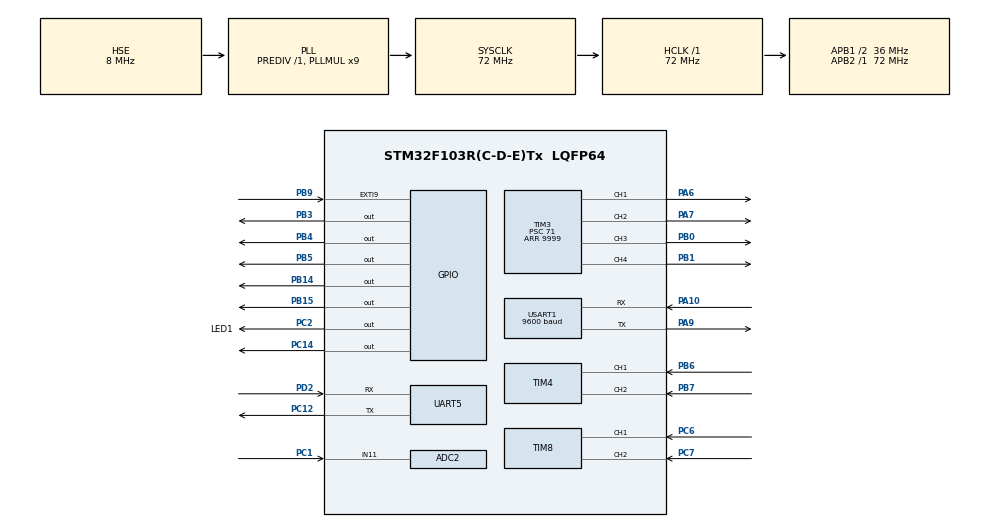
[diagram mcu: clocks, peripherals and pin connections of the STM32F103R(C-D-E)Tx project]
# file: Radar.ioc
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ADC2.Channel-0\#ChannelRegularConversion=ADC_CHANNEL_11
ADC2.NbrOfConversionFlag=1
ADC2.Rank-0\#ChannelRegularConversion=1
ADC2.SamplingTime-0\#ChannelRegularConversion=ADC_SAMPLETIME_13CYCLES_5
Mcu.Family=STM32F1
Mcu.Name=STM32F103R(C-D-E)Tx
Mcu.Package=LQFP64
NVIC.PriorityGroup=NVIC_PRIORITYGROUP_2
NVIC.TIM3_IRQn=true\:0\:0\:false\:false\:true\:true\:true\:true
NVIC.UART5_IRQn=true\:1\:1\:true\:false\:true\:true\:true\:true
NVIC.USART1_IRQn=true\:1\:1\:true\:false\:true\:true\:true\:true
PA10.Mode=Asynchronous
PA10.Signal=USART1_RX
PA13.Mode=Serial_Wire
PA13.Signal=SYS_JTMS-SWDIO
PA14.Mode=Serial_Wire
PA14.Signal=SYS_JTCK-SWCLK
PA6.GPIO_ModeDefaultPP=GPIO_MODE_AF_PP
PA6.Signal=S_TIM3_CH1
PA7.GPIO_ModeDefaultPP=GPIO_MODE_AF_PP
PA7.Signal=S_TIM3_CH2
PA9.Mode=Asynchronous
PA9.Signal=USART1_TX
PB0.GPIO_Speed=GPIO_SPEED_FREQ_LOW
PB0.Signal=S_TIM3_CH3
PB1.GPIO_Speed=GPIO_SPEED_FREQ_LOW
PB1.Signal=S_TIM3_CH4
PB14.Signal=GPIO_Output
PB15.Signal=GPIO_Output
PB3.GPIO_Speed=GPIO_SPEED_FREQ_LOW
PB3.PinState=GPIO_PIN_SET
PB3.Signal=GPIO_Output
PB4.GPIO_Speed=GPIO_SPEED_FREQ_LOW
PB4.PinState=GPIO_PIN_SET
PB4.Signal=GPIO_Output
PB5.GPIO_Speed=GPIO_SPEED_FREQ_LOW
PB5.PinState=GPIO_PIN_SET
PB5.Signal=GPIO_Output
PB6.GPIO_PuPd=GPIO_PULLUP
PB6.Signal=S_TIM4_CH1
PB7.GPIO_PuPd=GPIO_PULLUP
PB7.Signal=S_TIM4_CH2
PB9.GPIO_ModeDefaultEXTI=GPIO_MODE_IT_FALLING
PB9.GPIO_PuPd=GPIO_PULLUP
PB9.Signal=GPXTI9
PC1.Signal=ADCx_IN11
PC12.Mode=Asynchronous
PC12.Signal=UART5_TX
PC14-OSC32_IN.GPIO_ModeDefaultOutputPP=GPIO_MODE_OUTPUT_PP
PC14-OSC32_IN.GPIO_PuPd=GPIO_NOPULL
PC14-OSC32_IN.GPIO_Speed=GPIO_SPEED_FREQ_LOW
PC14-OSC32_IN.Signal=GPIO_Output
PC2.GPIO_Label=LED1
PC2.GPIO_PuPd=GPIO_PULLUP
PC2.Signal=GPIO_Output
PC6.GPIO_PuPd=GPIO_PULLUP
PC6.Signal=S_TIM8_CH1
PC7.GPIO_PuPd=GPIO_PULLUP
PC7.Signal=S_TIM8_CH2
PD0-OSC_IN.Mode=HSE-External-Oscillator
PD0-OSC_IN.Signal=RCC_OSC_IN
PD1-OSC_OUT.Mode=HSE-External-Oscillator
PD1-OSC_OUT.Signal=RCC_OSC_OUT
PD2.Mode=Asynchronous
PD2.Signal=UART5_RX
ProjectManager.HeapSize=0x800
ProjectManager.StackSize=0x800
ProjectManager.TargetToolchain=MDK-ARM V5
RCC.ADCPresc=RCC_ADCPCLK2_DIV6
RCC.AHBFreq_Value=72000000
RCC.APB1CLKDivider=RCC_HCLK_DIV2
RCC.APB1Freq_Value=36000000
RCC.APB1TimFreq_Value=72000000
RCC.APB2Freq_Value=72000000
RCC.APB2TimFreq_Value=72000000
RCC.HCLKFreq_Value=72000000
RCC.PLLMUL=RCC_PLL_MUL9
RCC.PLLSourceVirtual=RCC_PLLSOURCE_HSE
RCC.SYSCLKFreq_VALUE=72000000
RCC.SYSCLKSource=RCC_SYSCLKSOURCE_PLLCLK
RCC.USBFreq_Value=72000000
SH.ADCx_IN11.0=ADC2_IN11,IN11
SH.S_TIM3_CH1.0=TIM3_CH1,PWM Generation1 CH1
SH.S_TIM3_CH2.0=TIM3_CH2,PWM Generation2 CH2
SH.S_TIM3_CH3.0=TIM3_CH3,PWM Generation3 CH3
SH.S_TIM3_CH4.0=TIM3_CH4,PWM Generation4 CH4
SH.S_TIM4_CH1.0=TIM4_CH1,Encoder_Interface
SH.S_TIM4_CH2.0=TIM4_CH2,Encoder_Interface
SH.S_TIM8_CH1.0=TIM8_CH1,Encoder_Interface
SH.S_TIM8_CH2.0=TIM8_CH2,Encoder_Interface
TIM3.AutoReloadPreload=TIM_AUTORELOAD_PRELOAD_ENABLE
TIM3.Channel-PWM\ Generation1\ CH1=TIM_CHANNEL_1
TIM3.Channel-PWM\ Generation2\ CH2=TIM_CHANNEL_2
TIM3.Channel-PWM\ Generation3\ CH3=TIM_CHANNEL_3
TIM3.Channel-PWM\ Generation4\ CH4=TIM_CHANNEL_4
TIM3.Period=9999
TIM3.Prescaler=71
TIM3.Pulse-PWM\ Generation1\ CH1=0
TIM3.Pulse-PWM\ Generation2\ CH2=0
TIM4.AutoReloadPreload=TIM_AUTORELOAD_PRELOAD_ENABLE
TIM4.EncoderMode=TIM_ENCODERMODE_TI12
TIM4.IC1Filter=6
TIM4.IC2Filter=6
TIM8.AutoReloadPreload=TIM_AUTORELOAD_PRELOAD_ENABLE
TIM8.EncoderMode=TIM_ENCODERMODE_TI12
TIM8.IC1Filter=6
TIM8.IC2Filter=6
UART5.VirtualMode=Asynchronous
USART1.BaudRate=9600
USART1.VirtualMode=VM_ASYNC
VP_TIM3_VS_ClockSourceINT.Mode=Internal
board=custom

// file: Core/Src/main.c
/* USER CODE BEGIN Header */
/**
  ******************************************************************************
  * @file           : main.c
  * @brief          : Main program body
  ******************************************************************************
  * @attention
  *
  * Copyright (c) 2023 STMicroelectronics.
  * All rights reserved.
  *
  * This software is licensed under terms that can be found in the LICENSE file
  * in the root directory of this software component.
  * If no LICENSE file comes with this software, it is provided AS-IS.
  *
  ******************************************************************************
  */
/* USER CODE END Header */
#include "main.h"
#include "adc.h"
#include "tim.h"
#include "usart.h"
#include "gpio.h"

/* USER CODE BEGIN Includes */
#include "pid.h"
#include <stdio.h>
#include <string.h>
#include <math.h>
#include "bsp_oled.h"
#include "Header.h"

/* USER CODE END Includes */

/* USER CODE BEGIN PD */
#define LED1_ON() HAL_GPIO_WritePin(LED1_GPIO_Port, LED1_Pin, GPIO_PIN_RESET)
#define LED1_OFF() HAL_GPIO_WritePin(LED1_GPIO_Port, LED1_Pin, GPIO_PIN_SET)
#define LED1_TOGGLE() HAL_GPIO_TogglePin(LED1_GPIO_Port, LED1_Pin)
/* USER CODE END PD */

/* USER CODE BEGIN PM */

short Encoder1Count = 0;
short Encoder2Count = 0;
uint8_t str[256];

float Motor1Speed = 0.00;
float Motor2Speed = 0.00;
int Motor1Pwm = 0;
int Motor2Pwm = 0;

uint16_t Timer1Count = 0;

extern tPid pidMotor1Speed, pidMotor2Speed, pidMPU6050YawMovement, pidMPU6050PitchMovement;
extern Car wheel1, wheel2;

extern uint8_t usart1_ReadBuf[256];
extern uint8_t usart1_ReadBufCount;
extern uint8_t usart5_ReadBuf[1];

float p, i, d, a;

uint8_t OledString[30];

float Mileage = 0.00;

extern float Roll, Pitch, Yaw;

float g_fMPU6050YawMovePidOut = 0, g_fMPU6050YawMovePidOut1 = 0, g_fMPU6050YawMovePidOut2 = 0,
	  g_fMPU6050PitchMovePidOut = 0, g_fMPU6050PitchMovePidOut1 = 0, g_fMPU6050PitchMovePidOut2 = 0;

extern PointDataProcessDef PointDataProcess[420]; //閺囧瓨鏌?390娑擃亝鏆熼幑?
extern PointDataProcessDef Dataprocess[400]; //閻劋绨亸蹇氭簠闁潡娈伴妴浣界闂呭繈?浣借泲閻╁鍤庨妴涓扡E闂嗙柉鎻柆鍧楁閻ㄥ嫰娴勬潏鐐殶閹??
extern PointDataProcessDef TempData[12]; //鐡掑懓绻冩禍?0鎼达妇娈戞稉瀣╃閸﹀牊鏆熼幑顔诲閺冭泛鐡ㄩ崒?
extern LiDARFrameTypeDef Pack_Data; //闂嗙柉鎻幒銉︽暪閻ㄥ嫭鏆熼幑顔煎亶鐎涙ê婀潻娆庨嚋閸欐﹢鍣烘稊瀣╄厬

extern uint8_t one_lap_data_success_flag; //闂嗙柉鎻弫鐗堝祦鐎瑰本鍨氭稉?閸﹀牏娈戦幒銉︽暪閺嶅洤绻旀担?
extern int lap_count; //瑜版挸澧犻梿鐤彧鏉╂瑤绔撮崷鍫熸殶閹诡喗婀佹径姘毌娑擃亞鍋?
extern int PointDataProcess_count, test_once_flag, Dividing_point; //闂嗙柉鎻幒銉︽暪閺佺増宓侀悙鍦畱鐠侊紕鐣婚崐绗??浣瑰复閺?璺哄煂娑??閸﹀牊鏆熼幑顔芥付閸氬簼绔寸敮褎鏆熼幑顔炬畱閺嶅洤绻旀担宥??渚?娓剁憰浣稿瀼閸撳弶鏆熼幑顔炬畱閺佺増宓侀弫?
/* USER CODE END PM */

void SystemClock_Config(void);

/* USER CODE BEGIN 0 */

void Show_Info()
{
		sprintf((char*)str,
		"Motor1Speed : %2f Motor2Speed : %2f\r\n Motor1Pwm : %d Motor2Pwm : %d\r\n",
		 Motor1Speed,	   Motor2Speed,		 Motor1Pwm,		Motor1Pwm);
	HAL_UART_Transmit(&huart1, str, sizeof(str), 100);
}

void Show_Info_Car(Car *pid)
{
	sprintf((char*)str,
		"target_pos : %2f actual_pos : %2f\r\n err : \r\n",
		 pid->target_pos,	   pid->actual_pos);
	HAL_UART_Transmit(&huart1, str, sizeof(str), 100);
}

int XianFu_PWM(int pwm)
{
	if (pwm >= 10000)
	{
		pwm = 10000;
	}
	else if (pwm <= -10000)
	{
		pwm = -10000;
	}
	return pwm;
}

void Motor_Left(int pwm)
{
	if (pwm > 0) // forward
	{
		__HAL_TIM_SET_COMPARE(&htim3, TIM_CHANNEL_1, pwm);
		__HAL_TIM_SET_COMPARE(&htim3, TIM_CHANNEL_2, 0);
	}
	else if(pwm < 0) //back
	{
		__HAL_TIM_SET_COMPARE(&htim3, TIM_CHANNEL_1, 0);
		__HAL_TIM_SET_COMPARE(&htim3, TIM_CHANNEL_2, -pwm);
	}
	else // stop
	{
		__HAL_TIM_SET_COMPARE(&htim3, TIM_CHANNEL_1, 0);
		__HAL_TIM_SET_COMPARE(&htim3, TIM_CHANNEL_2, 0);
	}
}

void Motor_Right(int pwm)
{
	pwm = -pwm;
	if (pwm > 0) // forward
	{
		__HAL_TIM_SET_COMPARE(&htim3, TIM_CHANNEL_3, pwm);
		__HAL_TIM_SET_COMPARE(&htim3, TIM_CHANNEL_4, 0);
	}
	else if(pwm < 0) //back
	{
		__HAL_TIM_SET_COMPARE(&htim3, TIM_CHANNEL_3, 0);
		__HAL_TIM_SET_COMPARE(&htim3, TIM_CHANNEL_4, -pwm);
	}
	else // stop
	{
		__HAL_TIM_SET_COMPARE(&htim3, TIM_CHANNEL_3, 0);
		__HAL_TIM_SET_COMPARE(&htim3, TIM_CHANNEL_4, 0);
	}
}

void Motor_Control(int pwm1, int pwm2)
{
	// if (pwm1 == pwm2 ) go straight
	// if (pwm1 > pwm2) turn right
	// if (pwm1 < pwm2) turn left
	pwm1 = XianFu_PWM(pwm1);
	pwm2 = XianFu_PWM(pwm2);
	Motor_Left(pwm1);
	Motor_Right(pwm2);

}

//MotorPidSetSpeed(3, 4);//turn left
//MotorPidSetSpeed(4, 3);//turn right
//MotorPidSetSpeed(4, 4);//forward
//MotorPidSetSpeed(-3, -3);//backward
void MotorPidSetSpeed(float Motor1SetSpeed, float Motor2SetSpeed)
{
	//Set pid target speed
	pidMotor1Speed.target_val = Motor1SetSpeed;
	pidMotor2Speed.target_val = Motor2SetSpeed;

	Motor_Control(PID_realize(&pidMotor1Speed, Motor1Speed), PID_realize(&pidMotor2Speed, Motor2Speed));
}

void stop(void)
{
	pidMotor1Speed.target_val = 0;
	pidMotor2Speed.target_val = 0;
	Motor_Control(0, 0);
}

void MotorTurnAngle(float angle, float speed)
{
	pidMPU6050YawMovement.target_val = angle;
	g_fMPU6050YawMovePidOut = PID_Anglerealize(&pidMPU6050YawMovement, Yaw);

	g_fMPU6050YawMovePidOut1 = speed - g_fMPU6050YawMovePidOut;
	g_fMPU6050YawMovePidOut2 = speed + g_fMPU6050YawMovePidOut;
	MotorPidSetSpeed(g_fMPU6050YawMovePidOut1, g_fMPU6050YawMovePidOut2);
}

void Climb (float angle, float speed)
{
	pidMPU6050PitchMovement.target_val = -angle;
	g_fMPU6050PitchMovePidOut = PID_Anglerealize(&pidMPU6050PitchMovement, Pitch);
	g_fMPU6050PitchMovePidOut1 = speed - g_fMPU6050PitchMovePidOut;
	g_fMPU6050PitchMovePidOut2 = speed + g_fMPU6050PitchMovePidOut;
	MotorPidSetSpeed(g_fMPU6050PitchMovePidOut1, g_fMPU6050PitchMovePidOut2);
}

void OLED_Show()
{
	memset(OLED_GRAM, 0, 128 * 8*sizeof(uint8_t));
	sprintf((char*)OledString, "v1: %2.2fv2: %2.2f", Motor1Speed, Motor2Speed);
	OLED_ShowString(0, 0, OledString);
	sprintf((char*)OledString, "Mileage: %2.2f", Mileage);
	OLED_ShowString(0, 10, OledString);
	sprintf((char*)OledString, "U: %2.2fV", adcGetBatteryVoltage());
	OLED_ShowString(0, 20, OledString);
	sprintf((char*)OledString, "R: %2.1f", Roll);
	OLED_ShowString(0, 30, OledString);
	sprintf((char*)OledString, "P: %2.1f", Pitch);
	OLED_ShowString(0, 40, OledString);
	sprintf((char*)OledString, "Y: %2.1f", Yaw);
	OLED_ShowString(0, 50, OledString);
	//sprintf((char*)OledString, "D: %2.2f", g_fMPU6050YawMovePidOut);
	sprintf((char*)OledString, "D: %2.2f", g_fMPU6050PitchMovePidOut);
	OLED_ShowString(64, 50, OledString);
//	sprintf((char*)OledString, "M: %2.2f", MAX_Roll);
//	OLED_ShowString(64, 40, OledString);
//	sprintf((char*)OledString, "T: %2.2f", Target_Yaw);
//	OLED_ShowString(64, 30, OledString);
	OLED_Refresh_Gram();
}

void HAL_TIM_PeriodElapsedCallback(TIM_HandleTypeDef *htim)
{
	if (htim->Instance == TIM3) // 1000hz 10ms
	{
		static int Moto1 = 0, Moto2 = 0;
		Timer1Count++;
		if (Timer1Count % 1 == 0)
		{;
			Encoder1Count = (short)__HAL_TIM_GET_COUNTER(&htim4);
			Encoder2Count = -(short)__HAL_TIM_GET_COUNTER(&htim8);

			Motor1Speed = (float)Encoder1Count * 100 / 30 / 13 / 4;
			Motor2Speed = (float)Encoder2Count * 100 / 1560;
			__HAL_TIM_SET_COUNTER(&htim4, 0);
			__HAL_TIM_SET_COUNTER(&htim8, 0);
			//Show_Info();

		}
		if (Timer1Count % 2 == 0) //20ms
		{
			Mileage += (Motor1Speed + Motor2Speed) / 2 * 0.02 * 0.044; //m
			Moto1 = PID_realize(&pidMotor1Speed, Motor1Speed);
			Moto2 = PID_realize(&pidMotor2Speed, Motor2Speed);
			Motor_Control(Moto1, Moto2);
			Timer1Count = 0;
		}
	}
}

void HAL_UART_RxCpltCallback(UART_HandleTypeDef *huart)
{
	if (huart == &huart5)
	{
		static uint8_t state = 0; //閻樿埖?浣风秴	閿涘本瀵氱粈鍝勭秼閸撳秵鏆熼幑顔兼姎閻ㄥ嫪缍呯純?
		static uint8_t crc = 0; //閺嶏繝鐛欓崪?
		static uint8_t cnt = 0; //閻劋绨稉?鐢??12娑擃亞鍋ｉ惃鍕吀閺??
		uint8_t temp_data;
		temp_data = usart5_ReadBuf[0];
		if (state > 5)
		{
			if (state < 42)
			{
				if (state % 3 == 0)		//娑??鐢勬殶閹诡喕鑵戦惃鍕碍閸欒渹璐?6,9.....39閻ㄥ嫭鏆熼幑顕嗙礉鐠烘繄顬囬崐闂寸秵8娴??
				{
					Pack_Data.point[cnt].distance = (uint16_t)temp_data;
					state++;
					crc = CrcTable[(crc ^ temp_data) & 0xff];
				}
				else if(state % 3 == 1)	//娑??鐢勬殶閹诡喕鑵戦惃鍕碍閸欒渹璐?7,10.....40閻ㄥ嫭鏆熼幑顕嗙礉鐠烘繄顬囬崐濂哥彯8娴??
				{
					Pack_Data.point[cnt].distance = ((uint16_t)temp_data << 8) + Pack_Data.point[cnt].distance;
					state++;
					crc = CrcTable[(crc ^ temp_data) & 0xff];
				}
				else					//娑??鐢勬殶閹诡喕鑵戦惃鍕碍閸欒渹璐?8,11.....41閻ㄥ嫭鏆熼幑顕嗙礉缂冾喕淇婃惔?
				{
					Pack_Data.point[cnt].confidence = temp_data;
					cnt++;
					state++;
					crc = CrcTable[(crc ^ temp_data) & 0xff];
				}
			}
			else
			{
				switch (state)
				{
				case 42:
					Pack_Data.end_angle = (uint16_t)temp_data; //缂佹挻娼憴鎺戝娴??8娴??
					state++;
					crc = CrcTable[(crc ^ temp_data) & 0xff];
					break;
				case 43:
					Pack_Data.end_angle = ((uint16_t)temp_data << 8) + Pack_Data.end_angle; //缂佹挻娼憴鎺戝妤??8娴??
					state++;
					crc = CrcTable[(crc ^ temp_data) & 0xff];
					break;
				case 44:
					Pack_Data.timestamp = (uint16_t)temp_data; //閺冨爼妫块幋鍏呯秵8娴??
					state++;
					crc = CrcTable[(crc ^ temp_data) & 0xff];
					break;
				case 45:
					Pack_Data.timestamp = ((uint16_t)temp_data << 8) + Pack_Data.timestamp; //閺冨爼妫块幋鎶界彯8娴??
					state++;
					crc = CrcTable[(crc ^ temp_data) & 0xff];
					break;
				case 46:
					Pack_Data.crc8 = temp_data; //闂嗙柉鎻导鐘虫降閻ㄥ嫭鐗庢灞芥嫲
					if (Pack_Data.crc8 == crc)		//閺嶏繝鐛欏锝団??
					{
						data_process(); //閹恒儲鏁归崚棰佺鐢傜瑬閺嶏繝鐛欏锝団?橀崣顖欎簰鏉╂稖顢戦弫鐗堝祦婢跺嫮鎮?
					}
					else
					{
						memset(&Pack_Data, 0, sizeof(LiDARFrameTypeDef)); //濞撳懘娴?
					}
					crc = 0;
					state = 0;
					cnt = 0; //婢跺秳缍?
					break;
				default: break;
				}
			}
		}
		else
		{

			switch (state)
			{
			case 0:
				if (temp_data == HEADER)									//婢舵潙娴愮???
				{
					Pack_Data.header = temp_data;
					state++;
					crc = CrcTable[(crc ^ temp_data) & 0xff]; //瀵??婵绻樼悰灞剧墡妤??
				} else state = 0, crc = 0;
				break;
			case 1:
				if (temp_data == LENGTH)									//濞村鍣洪惃鍕仯閺佸府绱濋惄顔煎閸ュ搫鐣?
				{
					Pack_Data.ver_len = temp_data;
					state++;
					crc = CrcTable[(crc ^ temp_data) & 0xff];
				} else state = 0, crc = 0;
				break;
			case 2:
				Pack_Data.speed = (uint16_t)temp_data; //闂嗙柉鎻惃鍕祮闁喍缍?8娴ｅ稄绱濋崡鏇氱秴鎼达附鐦＄粔?
				state++;
				crc = CrcTable[(crc ^ temp_data) & 0xff];
				break;
			case 3:
				Pack_Data.speed = ((uint16_t)temp_data << 8) + Pack_Data.speed; //闂嗙柉鎻惃鍕祮闁喖鐝?8娴??
				state++;
				crc = CrcTable[(crc ^ temp_data) & 0xff];
				break;
			case 4:
				Pack_Data.start_angle = (uint16_t)temp_data; //瀵??婵顫楁惔锔跨秵8娴ｅ稄绱濋弨鎯с亣娴??100閸??
				state++;
				crc = CrcTable[(crc ^ temp_data) & 0xff];
				break;
			case 5:
				Pack_Data.start_angle = ((uint16_t)temp_data << 8) + Pack_Data.start_angle;
				state++;
				crc = CrcTable[(crc ^ temp_data) & 0xff];
				break;
			default: break;
			}
		}
		HAL_UART_Receive_IT(&huart5, usart5_ReadBuf, 1);
	}
}

/* USER CODE END 0 */

int main(void)
{

  /* MCU Configuration--------------------------------------------------------*/

  /* Reset of all peripherals, Initializes the Flash interface and the Systick. */
  HAL_Init();

  /* Configure the system clock */
  SystemClock_Config();

  /* Initialize all configured peripherals */
  MX_GPIO_Init();
  MX_TIM3_Init();
  MX_USART1_UART_Init();
  MX_TIM4_Init();
  MX_TIM8_Init();
  MX_ADC2_Init();
  MX_UART5_Init();
  /* USER CODE BEGIN 2 */

	LED1_ON();

	HAL_TIM_PWM_Start(&htim3, TIM_CHANNEL_1);
	HAL_TIM_PWM_Start(&htim3, TIM_CHANNEL_2);
	HAL_TIM_PWM_Start(&htim3, TIM_CHANNEL_3);
	HAL_TIM_PWM_Start(&htim3, TIM_CHANNEL_4);

	HAL_TIM_Encoder_Start(&htim4, TIM_CHANNEL_1);
	HAL_TIM_Encoder_Start(&htim4, TIM_CHANNEL_2);
	HAL_TIM_Encoder_Start(&htim8, TIM_CHANNEL_1);
	HAL_TIM_Encoder_Start(&htim8, TIM_CHANNEL_2);

	HAL_TIM_Base_Start_IT(&htim3);

	__HAL_UART_ENABLE_IT(&huart1, UART_IT_RXNE);

	PID_init();

	OLED_Init();

	MPU6050_initialize();
	DMP_Init();

	HAL_UART_Receive_IT(&huart5, usart5_ReadBuf, 1);
	LED1_OFF();

  /* USER CODE END 2 */

  /* Infinite loop */
  while (1)
  {

    /* USER CODE BEGIN 3 */
	  OLED_Show();
	  Read_DMP();

//	  for (int m = 0; m < 400; m++) //print data of angles
//	  {
//		  if (Dataprocess[m].distance > 0)// mm
//		  {
//			  sprintf((char*)str, "%2.2f, ", Dataprocess[m].angle);
//			  HAL_UART_Transmit(&huart1, str, sizeof(str), 20);
//		  }
//
//	  }

	  for (int m = 0; m < 400; m++) //print data of distances
		{
			if (Dataprocess[m].distance < 1000  && Dataprocess[m].distance > 0)
			{
				sprintf((char*)str, "%2.2f , %d, ", Dataprocess[m].angle ,Dataprocess[m].distance);
				HAL_UART_Transmit(&huart1, str, sizeof(str), 20);
			}
	  }

//	  delay_ms(50);
  }
  /* USER CODE END 3 */
}

void SystemClock_Config(void)
{
  RCC_OscInitTypeDef RCC_OscInitStruct = {0};
  RCC_ClkInitTypeDef RCC_ClkInitStruct = {0};
  RCC_PeriphCLKInitTypeDef PeriphClkInit = {0};

  /** Initializes the RCC Oscillators according to the specified parameters
  * in the RCC_OscInitTypeDef structure.
  */
  RCC_OscInitStruct.OscillatorType = RCC_OSCILLATORTYPE_HSE;
  RCC_OscInitStruct.HSEState = RCC_HSE_ON;
  RCC_OscInitStruct.HSEPredivValue = RCC_HSE_PREDIV_DIV1;
  RCC_OscInitStruct.HSIState = RCC_HSI_ON;
  RCC_OscInitStruct.PLL.PLLState = RCC_PLL_ON;
  RCC_OscInitStruct.PLL.PLLSource = RCC_PLLSOURCE_HSE;
  RCC_OscInitStruct.PLL.PLLMUL = RCC_PLL_MUL9;
  if (HAL_RCC_OscConfig(&RCC_OscInitStruct) != HAL_OK)
  {
    Error_Handler();
  }

  /** Initializes the CPU, AHB and APB buses clocks
  */
  RCC_ClkInitStruct.ClockType = RCC_CLOCKTYPE_HCLK|RCC_CLOCKTYPE_SYSCLK
                              |RCC_CLOCKTYPE_PCLK1|RCC_CLOCKTYPE_PCLK2;
  RCC_ClkInitStruct.SYSCLKSource = RCC_SYSCLKSOURCE_PLLCLK;
  RCC_ClkInitStruct.AHBCLKDivider = RCC_SYSCLK_DIV1;
  RCC_ClkInitStruct.APB1CLKDivider = RCC_HCLK_DIV2;
  RCC_ClkInitStruct.APB2CLKDivider = RCC_HCLK_DIV1;

  if (HAL_RCC_ClockConfig(&RCC_ClkInitStruct, FLASH_LATENCY_2) != HAL_OK)
  {
    Error_Handler();
  }
  PeriphClkInit.PeriphClockSelection = RCC_PERIPHCLK_ADC;
  PeriphClkInit.AdcClockSelection = RCC_ADCPCLK2_DIV6;
  if (HAL_RCCEx_PeriphCLKConfig(&PeriphClkInit) != HAL_OK)
  {
    Error_Handler();
  }
}

void Error_Handler(void)
{
  __disable_irq();
  while (1)
  {
  }
}
